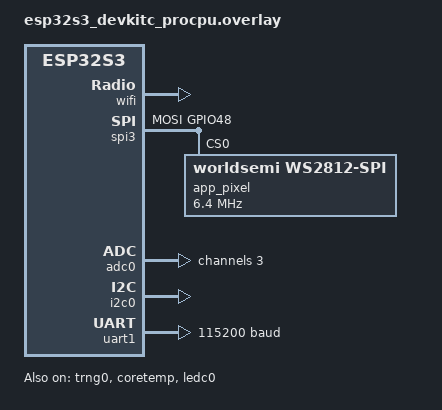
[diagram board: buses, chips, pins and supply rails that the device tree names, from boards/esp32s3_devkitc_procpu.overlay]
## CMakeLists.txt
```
# flightctl-mcu on Zephyr: the agent core, the Zephyr port and a small
# application. Built with port/zephyr/build.sh.
cmake_minimum_required(VERSION 3.20)
# The flightctl,app-hw binding (dts/bindings): the board map's names.
list(APPEND DTS_ROOT ${CMAKE_CURRENT_LIST_DIR})
find_package(Zephyr REQUIRED HINTS $ENV{ZEPHYR_BASE})
project(flightctl_mcu)
# For mbedTLS too: it includes fc-mbedtls-user.h (prj.conf).
zephyr_include_directories(include)
if(CONFIG_FC_ESP_INTERNAL_HEAPS AND CONFIG_SOC_ESP32_PROCPU)
    zephyr_linker_sources(SECTIONS rtc_fast_heap.ld)
endif()

set(ROOT ${CMAKE_CURRENT_LIST_DIR}/../..)

# WAMR (third_party/fetch-wamr.sh): fast interpreter only, as in the other
# builds.
enable_language(ASM)
set(WAMR_BUILD_PLATFORM "zephyr")
if(CONFIG_ARCH_POSIX)
    if(CMAKE_HOST_SYSTEM_PROCESSOR MATCHES "^(arm64|aarch64)")
        set(WAMR_BUILD_TARGET "AARCH64")
    else()
        set(WAMR_BUILD_TARGET "X86_64")
    endif()
elseif(CONFIG_CPU_CORTEX_M0PLUS OR CONFIG_CPU_CORTEX_M0)
    set(WAMR_BUILD_TARGET "THUMBV6M")
elseif(CONFIG_CPU_CORTEX_M)
    set(WAMR_BUILD_TARGET "THUMBV7EM")
elseif(CONFIG_XTENSA)
    set(WAMR_BUILD_TARGET "XTENSA")
elseif(CONFIG_RISCV AND NOT CONFIG_64BIT AND NOT CONFIG_FPU)
    set(WAMR_BUILD_TARGET "RISCV32_ILP32")
else()
    message(FATAL_ERROR "flightctl-mcu: no WAMR target for this board yet")
endif()
set(WAMR_BUILD_INTERP 1)
set(WAMR_BUILD_FAST_INTERP 1)
set(WAMR_BUILD_AOT 0)
set(WAMR_BUILD_JIT 0)
# libc-builtin: a few C library functions for the apps (fc_apps.c, s_libc).
set(WAMR_BUILD_LIBC_BUILTIN 1)
set(WAMR_BUILD_LIBC_WASI 0)
set(WAMR_BUILD_SIMD 0)
set(WAMR_BUILD_REF_TYPES 0)
# Instruction metering: an app call that runs past its budget traps, so an
# app in an endless loop can always be stopped (core/src/fc_apps.c).
set(WAMR_BUILD_INSTRUCTION_METERING 1)
# Tail calls (return_call), which clang emits with -mtail-call and current
# toolchains by default: CoreMark as wasm-coremark publishes it uses them.
set(WAMR_BUILD_TAIL_CALL 1)
set(WAMR_ROOT_DIR ${ROOT}/third_party/wamr)
include(${WAMR_ROOT_DIR}/build-scripts/runtime_lib.cmake)

target_sources(app PRIVATE
    src/main.c
    ${ROOT}/port/zephyr/fc_port_zephyr.c
    ${ROOT}/port/zephyr/fc_net_zephyr.c
    ${ROOT}/port/zephyr/fc_hw_zephyr.c
    ${ROOT}/core/src/fc_agent.c
    ${ROOT}/core/src/fc_rendered.c
    ${ROOT}/core/src/fc_console.c
    ${ROOT}/core/src/fc_log.c
    ${ROOT}/core/src/fc_metrics.c
    ${ROOT}/core/src/fc_mqtt.c
    ${ROOT}/core/src/fc_http.c
    ${ROOT}/core/src/fc_identity.c
    ${ROOT}/core/src/fc_oci.c
    ${ROOT}/core/src/fc_apps.c
    ${ROOT}/core/src/fc_appapi.c
    ${ROOT}/core/src/fc_arduino.c
    ${ROOT}/core/src/fc_board.c
    ${ROOT}/core/src/fc_resources.c
    ${ROOT}/core/src/fc_delta.c
    ${ROOT}/third_party/cjson/cJSON.c
    ${WAMR_RUNTIME_LIB_SOURCE})
if(CONFIG_RISCV_ISA_RV32I AND CONFIG_ATOMIC_OPERATIONS_C)
    target_sources(app PRIVATE fc_atomic_rv32.c)
endif()
# Boards with WiFi: the network, given at the factory, or in the field where
# the board can open an access point (with a DHCP server for installers).
if(CONFIG_WIFI)
    target_sources(app PRIVATE src/wifi.c)
    if(CONFIG_SOC_SERIES_ESP32C5)
        target_sources(app PRIVATE src/wifi_esp32c5.c)
    endif()
endif()
if(CONFIG_WIFI AND CONFIG_NET_DHCPV4_SERVER)
    target_sources(app PRIVATE ${ROOT}/core/src/fc_prov.c)
endif()
# The C heap is the port's unless the build keeps Zephyr's.
if(NOT CONFIG_COMMON_LIBC_MALLOC)
    target_sources(app PRIVATE ${ROOT}/port/zephyr/fc_heap_zephyr.c)
    # The S3 with PSRAM and software crypto can receive TLS records in
    # external RAM. A hardware accelerator may require DMA-capable memory.
    if(NOT CONFIG_CRYPTO AND
       ((CONFIG_BOARD_ESP32S3_DEVKITC_ESP32S3_PROCPU AND CONFIG_ESP_SPIRAM AND CONFIG_SPIRAM_MODE_OCT
         AND CONFIG_ESP_SPIRAM_SIZE EQUAL 8388608 AND CONFIG_SHARED_MULTI_HEAP)
        OR (CONFIG_SOC_SERIES_ESP32 AND CONFIG_ESP32_REGION_1_NOINIT)))
        set_source_files_properties(${ROOT}/core/src/fc_http.c ${ROOT}/port/zephyr/fc_heap_zephyr.c
            PROPERTIES COMPILE_DEFINITIONS FC_TLS_POOL_PORT_STORAGE)
    endif()
endif()
target_include_directories(app PRIVATE
    ${ROOT}/core/include ${ROOT}/core/src ${ROOT}/third_party/cjson ${ROOT}/port/zephyr)
# WAMR 2.4.6's Zephyr port includes <autoconf.h> and <version.h>, which Zephyr
# generates under zephyr/ and no longer puts on the include path as they are.
target_include_directories(app PRIVATE ${ZEPHYR_BINARY_DIR}/include/generated/zephyr)
# On Xtensa the fatal error handler walks the stack with Zephyr's own
# backtrace, whose headers are the architecture's (fc_port_zephyr.c).
if(CONFIG_XTENSA)
    target_include_directories(app PRIVATE ${ZEPHYR_BASE}/arch/xtensa/include)
endif()
# App state changes go to the journal. Other app output also goes to the console.
set_property(SOURCE ${ROOT}/core/src/fc_apps.c APPEND PROPERTY COMPILE_DEFINITIONS FC_APP_STATE_LOG_BUFFER_ONLY)
# FC_LOG_KEEP: the device's log in RAM that a restart keeps (fc_log.h).
target_compile_definitions(app PRIVATE
    CJSON_NESTING_LIMIT=32
    FC_LOG_KEEP=1)
if(CONFIG_FC_CONSOLE_CRASH)
    target_compile_definitions(app PRIVATE FC_CONSOLE_CRASH=1)
endif()
if(CONFIG_FC_AGENT_STACK_SIZE)
    target_compile_definitions(app PRIVATE FC_AGENT_STACK_SIZE=${CONFIG_FC_AGENT_STACK_SIZE})
endif()
# WAMR, which runs the apps, optimized for speed (-O2, after Zephyr's -Os);
# the rest stays optimized for size. With -O2 for everything the ESP32-S3's
# data is 5.6 KB larger than its RAM.
set_source_files_properties(${WAMR_RUNTIME_LIB_SOURCE} PROPERTIES
    COMPILE_OPTIONS "-O2"
    COMPILE_DEFINITIONS WASM_ENABLE_COMPACT_DISPATCH=1)

# hostap and WAMR each provide an allocator under these names.
if(CONFIG_WIFI_NM_WPA_SUPPLICANT)
    set_property(SOURCE ${WAMR_RUNTIME_LIB_SOURCE} APPEND PROPERTY COMPILE_DEFINITIONS
        os_malloc=wamr_os_malloc os_realloc=wamr_os_realloc os_free=wamr_os_free)
endif()

if(CONFIG_BOARD_NRF7002DK_NRF5340_CPUAPP)
    target_sources(app PRIVATE nrf5340/temperature.c)
endif()
```

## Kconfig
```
# flightctl-mcu application options.

config FC_PHYSICAL_APP_HW
	bool
	default y if BOARD_NUCLEO_F767ZI
	default y if BOARD_ESP32_DEVKITC || BOARD_ESP32C3_DEVKITM || BOARD_ESP32C5_DEVKITC || BOARD_ESP32C6_DEVKITC
	default y if BOARD_NRF7002DK_NRF5340_CPUAPP || BOARD_ESP32S3_DEVKITC_ESP32S3_PROCPU
	default y if BOARD_RPI_PICO2_RP2350A_M33_0_W || BOARD_RPI_PICO2_RP2350A_M33_0_W_MCUBOOT
	help
	  Use the board's physical LED and devicetree sensors for WASM apps.
	  Omit the console LED and uptime-based temperature fallback.

config FC_STORAGE_SETTINGS
	bool
	default y if BOARD_NUCLEO_F767ZI

config FC_SNTP_SERVER
	string "SNTP server the device takes the time from"
	default "pool.ntp.org"

config FC_LIBC_HEAP_WATERMARK
	bool "Track minimum free space in the common libc malloc arena"
	depends on COMMON_LIBC_MALLOC && SYS_HEAP_RUNTIME_STATS && COMMON_LIBC_MALLOC_ARENA_SIZE != 0

config FC_HEAP_SIZE
	int "Size of the C heap (malloc), in bytes"
	default 163840
	help
	  Everything the agent allocates: TLS sessions, JSON documents, WASM
	  modules and their memory. The device reports how much of it is free.

config FC_ESP_INTERNAL_HEAPS
	bool "Use additional internal SRAM for the agent heap"
	depends on (SOC_ESP32_PROCPU && ESP32_REGION_1_NOINIT) || SOC_ESP32C5_HPCORE
	depends on BOOTLOADER_MCUBOOT && !SMP && !SOC_ENABLE_APPCPU && !ESP_SPIRAM && !BT
	depends on !COMMON_LIBC_MALLOC && !CRYPTO && !ESP32_ULP_COPROC_ENABLED
	select MULTI_HEAP
	help
	  After kernel startup, use the RAM vacated by MCUboot and the ROM
	  startup stack. On ESP32-C5, try the extra high-performance SRAM bank
	  before the main heap and use RTC RAM as a last resort. On the classic
	  ESP32, try the smaller banks first to leave room for WASM linear memory.

config FC_APP_HEAP_CHECK
	bool "Refuse an app whose memory leaves the agent too little of the C heap"
	depends on !COMMON_LIBC_MALLOC
	help
	  The floor of heap for the agent (docs/APPS.md, Size and limits): an
	  app whose instance leaves less than 40 KB of the C heap is refused,
	  and the largest .wasm follows what is free. With it the device also
	  logs, and puts in customInfo heapAgentBytes, what the agent took of
	  the heap after an app's instance. Off until the floor is measured
	  on a board with Zephyr: there TLS's receive buffers are reserved
	  apart, and the agent's needs differ from ESP-IDF's.

config FC_AGENT_STACK_SIZE
	int "Stack of the agent's status thread, in bytes (0: the core's default)"
	default 0
	help
	  The core asks for 12 KB on a microcontroller. The agent's other loop,
	  the spec's, runs on the main thread (CONFIG_MAIN_STACK_SIZE). A board
	  short of RAM can give less once it has measured what the threads use
	  (customInfo stackMinFreeBytes).

config FC_CONSOLE_CRASH
	bool "Test only: a console command, crash, that makes the device fault"
	help
	  For the test of what the device's log keeps across a crash. Never
	  in a release.

config FC_FW_VERSION
	string "Firmware version, logged at boot"
	default "dev"

config FC_METRICS_INTERVAL
	int "Counters in customInfo read every (s)"
	default 3600
	help
	  The heap's low-water mark, traffic. The statuses in between repeat
	  the last values: Flight Control 1.4 logs an event for every change
	  in the status.

config FC_OTA_VERIFY_TIMEOUT
	int "Seconds a new firmware has to reach Flight Control before it is given up"
	default 150
	help
	  Counted from the boot into the new image. After it the device
	  restarts and MCUboot puts the previous image back.

config FC_TEST_SERVER_PORT
	int "Test only: force this agent endpoint port (0: off)"
	default 0
	help
	  For the test of the way back: a firmware that cannot reach Flight
	  Control whatever the device was provisioned with.

config FC_FW_PLATFORM
	string "The name of this board's firmware in a release"
	default BOARD
	help
	  A firmware release is an OCI index with an image per platform; the
	  device takes the one whose platform.architecture is this.

config FC_LOG_DEBUG
	bool "Log the agent's debug messages"
	default n

source "Kconfig.zephyr"
```

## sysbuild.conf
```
# Used only by builds with a bootloader (port/zephyr/build.sh on a board named
# .../mcuboot): MCUboot, two slots swapped with a way back, images signed
# with ECDSA P-256. The key is given by build.sh (.secrets/mcuboot-signing.pem).
SB_CONFIG_BOOTLOADER_MCUBOOT=y
SB_CONFIG_MCUBOOT_MODE_SWAP_USING_MOVE=y
SB_CONFIG_BOOT_SIGNATURE_TYPE_ECDSA_P256=y
```

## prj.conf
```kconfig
# flightctl-mcu on Zephyr: what the agent core needs from the system.
# Board-specific settings are in boards/.

# The core is POSIX: threads with the stack size they ask for, clocks, sleep.
CONFIG_POSIX_API=y
CONFIG_THREAD_STACK_INFO=y
# Stacks filled at start, so that what a thread never used can be read
# (customInfo stackMinFreeBytes).
CONFIG_INIT_STACKS=y
CONFIG_DYNAMIC_THREAD=y
CONFIG_DYNAMIC_THREAD_ALLOC=y
CONFIG_DYNAMIC_THREAD_PREFER_ALLOC=y
CONFIG_MAIN_STACK_SIZE=16384
# POSIX mutexes come from a fixed pool (5 by default): the core takes 7,
# mbedTLS's threading layer (include/fc-tf-psa-user.h) 7, and the HTTP/2
# client up to 11: one for the TLS buffer pool, one per session (the agent's,
# the registry's) and two per connection, of which there can be three (the
# agent's, the registry's, and the agent's old one for as long as a long-poll
# finishes on it after a certificate renewal). Short of them, mbedTLS's own
# fail and a TLS handshake ends in PSA_ERROR_GENERIC_ERROR. A condition
# variable per connection too.
CONFIG_MAX_PTHREAD_MUTEX_COUNT=28
CONFIG_MAX_PTHREAD_COND_COUNT=12
CONFIG_REBOOT=y
CONFIG_HWINFO=y
# The C heap is the port's (port/zephyr/fc_heap_zephyr.c), which reports how
# much of it is free; its size is CONFIG_FC_HEAP_SIZE.
CONFIG_COMMON_LIBC_MALLOC=n
CONFIG_SYS_HEAP_RUNTIME_STATS=y
# The apps' C library formats each conversion of their printf and snprintf
# with picolibc's (docs/APPS.md#the-c-library): with floating point, so that
# an app's %f prints the number, as on ESP-IDF, not "*float*".
CONFIG_PICOLIBC_IO_FLOAT=y
# CPU use for status.resources: cycles outside the idle threads.
CONFIG_THREAD_RUNTIME_STATS=y

# Storage: LittleFS on the fc_storage partition (port/zephyr).
CONFIG_FLASH=y
CONFIG_FLASH_MAP=y
CONFIG_FILE_SYSTEM=y
CONFIG_FILE_SYSTEM_LITTLEFS=y

# Network: TCP sockets, DNS, and SNTP for the time certificates are checked
# against.
CONFIG_NETWORKING=y
CONFIG_NET_IPV4=y
CONFIG_NET_IPV6=n
# One interface and the router DHCP gives: no table of static routes (new in
# Zephyr 4.5, and on by default).
CONFIG_NET_IPV4_ROUTE=n
CONFIG_NET_TCP=y
CONFIG_NET_UDP=y
CONFIG_NET_SOCKETS=y
# The agent keeps two connections to Flight Control and opens a third to the
# registry for an app or a firmware; DHCP and DNS have theirs. Zephyr's
# default of four in all refuses the third.
CONFIG_NET_MAX_CONN=10
CONFIG_NET_MAX_CONTEXTS=10
CONFIG_DNS_RESOLVER=y
# The agent's two threads may both look the server up at the same time.
CONFIG_DNS_NUM_CONCUR_QUERIES=3
CONFIG_SNTP=y

# mbedTLS 4.1, as in the other builds: TLS 1.3 with ECDSA P-256 keys, X.509
# and PKCS#10 requests. Its cryptography is PSA's (TF-PSA-Crypto), chosen
# below by what TLS 1.3 and the agent take from it. RSA only for a device key
# in hardware, which the core can make.
CONFIG_PSA_CRYPTO=y
CONFIG_MBEDTLS=y
CONFIG_MBEDTLS_BUILTIN=y
CONFIG_MBEDTLS_SSL_PROTO_TLS1_2=y
CONFIG_MBEDTLS_SSL_PROTO_TLS1_3=y
CONFIG_MBEDTLS_SSL_TLS1_3_KEY_EXCHANGE_MODE_EPHEMERAL_ENABLED=y
# HTTP/2 is chosen with ALPN: the core speaks nothing else.
CONFIG_MBEDTLS_SSL_ALPN=y
CONFIG_MBEDTLS_KEY_EXCHANGE_ECDHE_ECDSA_ENABLED=y
CONFIG_MBEDTLS_KEY_EXCHANGE_ECDHE_RSA_ENABLED=y
CONFIG_MBEDTLS_PSA_CRYPTO_C=y
# The key exchange, the signatures, HKDF, the two AEAD ciphers, the hashes.
CONFIG_PSA_WANT_ALG_ECDH=y
CONFIG_PSA_WANT_ALG_ECDSA=y
CONFIG_PSA_WANT_ALG_DETERMINISTIC_ECDSA=y
CONFIG_PSA_WANT_ALG_HKDF=y
CONFIG_PSA_WANT_ALG_HKDF_EXTRACT=y
CONFIG_PSA_WANT_ALG_HKDF_EXPAND=y
CONFIG_PSA_WANT_ALG_HMAC=y
CONFIG_PSA_WANT_ALG_SHA_256=y
CONFIG_PSA_WANT_ALG_SHA_384=y
CONFIG_PSA_WANT_ALG_GCM=y
# Field provisioning's session (core/src/fc_prov.c): X25519, then AES-CTR.
CONFIG_PSA_WANT_ALG_CTR=y
CONFIG_PSA_WANT_ALG_CHACHA20_POLY1305=y
CONFIG_PSA_WANT_ALG_TLS12_PRF=y
CONFIG_PSA_WANT_ECC_SECP_R1_256=y
CONFIG_PSA_WANT_ECC_SECP_R1_384=y
CONFIG_PSA_WANT_ECC_MONTGOMERY_255=y
CONFIG_PSA_WANT_KEY_TYPE_AES=y
CONFIG_PSA_WANT_KEY_TYPE_CHACHA20=y
CONFIG_PSA_WANT_KEY_TYPE_HMAC=y
CONFIG_PSA_WANT_KEY_TYPE_ECC_PUBLIC_KEY=y
CONFIG_PSA_WANT_KEY_TYPE_ECC_KEY_PAIR_IMPORT=y
CONFIG_PSA_WANT_KEY_TYPE_ECC_KEY_PAIR_EXPORT=y
CONFIG_PSA_WANT_KEY_TYPE_ECC_KEY_PAIR_GENERATE=y
CONFIG_PSA_WANT_KEY_TYPE_ECC_KEY_PAIR_DERIVE=y
CONFIG_PSA_WANT_ALG_RSA_PKCS1V15_SIGN=y
CONFIG_PSA_WANT_ALG_RSA_PSS=y
CONFIG_PSA_WANT_KEY_TYPE_RSA_PUBLIC_KEY=y
CONFIG_PSA_WANT_KEY_TYPE_RSA_KEY_PAIR_IMPORT=y
CONFIG_PSA_WANT_KEY_TYPE_RSA_KEY_PAIR_EXPORT=y
CONFIG_PSA_WANT_KEY_TYPE_RSA_KEY_PAIR_GENERATE=y
# PSA's random generator: mbedTLS's own (entropy gathered, then a DRBG), fed
# by Zephyr's entropy driver.
CONFIG_MBEDTLS_PSA_CRYPTO_LEGACY_RNG=y
CONFIG_MBEDTLS_CTR_DRBG_C=y
CONFIG_MBEDTLS_HMAC_DRBG_C=y
CONFIG_MBEDTLS_PEM_PARSE_C=y
CONFIG_MBEDTLS_PEM_WRITE_C=y
CONFIG_MBEDTLS_PK_PARSE_C=y
CONFIG_MBEDTLS_PK_WRITE_C=y
CONFIG_MBEDTLS_X509_CRT_PARSE_C=y
CONFIG_MBEDTLS_X509_CSR_WRITE_C=y
CONFIG_MBEDTLS_X509_CSR_PARSE_C=y
CONFIG_MBEDTLS_SSL_SERVER_NAME_INDICATION=y
CONFIG_MBEDTLS_HAVE_TIME_DATE=y
# A TLS connection keeps a buffer for each direction. Records from the server
# can be 16 KB; what the agent sends goes out in records of 4 KB, as in the
# ESP-IDF build: 12 KB less per connection.
CONFIG_MBEDTLS_SSL_IN_CONTENT_LEN=16384
CONFIG_MBEDTLS_SSL_OUT_CONTENT_LEN=4096
# mbedTLS allocates from the C heap, like everything else here: its PSA key
# slots too (static ones cost 38 KB of RAM, sized for the largest RSA key).
# The receive buffers come from two blocks the agent takes at its start
# (core/include/fc_tls_pool.h), through mbedtls_platform_set_calloc_free.
CONFIG_MBEDTLS_ENABLE_HEAP=n
CONFIG_MBEDTLS_PSA_STATIC_KEY_SLOTS=n
# The AES tables in flash, not RAM (9 KB).
CONFIG_MBEDTLS_AES_ROM_TABLES=y
CONFIG_MBEDTLS_USER_CONFIG_FILE="fc-mbedtls-user.h"
CONFIG_TF_PSA_CRYPTO_USER_CONFIG_FILE="fc-tf-psa-user.h"
CONFIG_ENTROPY_GENERATOR=y
```

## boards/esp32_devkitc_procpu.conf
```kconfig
# Station provisioning uses the network in the factory partition.
CONFIG_WIFI=y
CONFIG_NET_MGMT=y
CONFIG_NET_MGMT_EVENT=y
CONFIG_NET_DHCPV4=y
CONFIG_ESP32_WIFI_STA_SCAN_ALL=y
CONFIG_ESP32_WIFI_STA_RECONNECT=y
CONFIG_STREAM_FLASH=y
CONFIG_IMG_MANAGER=y
CONFIG_MCUBOOT_IMG_MANAGER=y
CONFIG_IMG_ERASE_PROGRESSIVELY=y
CONFIG_LOG=y
CONFIG_LOG_MODE_MINIMAL=y
CONFIG_LOG_DEFAULT_LEVEL=1
CONFIG_THREAD_NAME=y
CONFIG_FC_AGENT_STACK_SIZE=12288
# Leave DMA-capable system heap for Wi-Fi traffic while a WASM app runs.
CONFIG_HEAP_MEM_POOL_SIZE=64512
CONFIG_FC_HEAP_SIZE=80896
CONFIG_MAX_PTHREAD_MUTEX_COUNT=32
CONFIG_ESP32_WIFI_STATIC_RX_BUFFER_NUM=4
CONFIG_ESP32_WIFI_DYNAMIC_RX_BUFFER_NUM=8
CONFIG_ESP32_WIFI_DYNAMIC_TX_BUFFER_NUM=8
CONFIG_NET_BUF_DATA_SIZE=192
CONFIG_NET_BUF_RX_COUNT=20
CONFIG_NET_BUF_TX_COUNT=24
CONFIG_ESP32_REGION_1_NOINIT=y
CONFIG_FC_ESP_INTERNAL_HEAPS=y
# POSIX app threads inherit the main priority. Share CPU time with the
# Espressif Wi-Fi worker at the lowest of 15 preemptible priorities.
CONFIG_MAIN_THREAD_PRIORITY=14
```

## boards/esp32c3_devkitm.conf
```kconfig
# Station provisioning uses the network in the factory partition.
CONFIG_WIFI=y
CONFIG_NET_MGMT=y
CONFIG_NET_MGMT_EVENT=y
CONFIG_NET_DHCPV4=y
CONFIG_ESP32_WIFI_STA_SCAN_ALL=y
CONFIG_ESP32_WIFI_STA_RECONNECT=y
CONFIG_STREAM_FLASH=y
CONFIG_IMG_MANAGER=y
CONFIG_MCUBOOT_IMG_MANAGER=y
CONFIG_IMG_ERASE_PROGRESSIVELY=y
CONFIG_LOG=y
CONFIG_LOG_MODE_MINIMAL=y
CONFIG_LOG_DEFAULT_LEVEL=1
CONFIG_THREAD_NAME=y
CONFIG_FC_AGENT_STACK_SIZE=12288
CONFIG_HEAP_MEM_POOL_SIZE=65536
CONFIG_FC_HEAP_SIZE=139264
CONFIG_MAX_PTHREAD_MUTEX_COUNT=32
CONFIG_ESP32_WIFI_STATIC_RX_BUFFER_NUM=4
CONFIG_ESP32_WIFI_DYNAMIC_RX_BUFFER_NUM=8
CONFIG_ESP32_WIFI_DYNAMIC_TX_BUFFER_NUM=8
CONFIG_NET_BUF_RX_COUNT=22
CONFIG_NET_BUF_TX_COUNT=22
```

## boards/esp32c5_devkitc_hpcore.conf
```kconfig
# Station provisioning uses the network in the factory partition.
CONFIG_WIFI=y
CONFIG_NET_MGMT=y
CONFIG_NET_MGMT_EVENT=y
CONFIG_NET_DHCPV4=y
CONFIG_ESP32_WIFI_STA_SCAN_ALL=y
CONFIG_ESP32_WIFI_STA_RECONNECT=y
CONFIG_STREAM_FLASH=y
CONFIG_IMG_MANAGER=y
CONFIG_MCUBOOT_IMG_MANAGER=y
CONFIG_IMG_ERASE_PROGRESSIVELY=y
CONFIG_LOG=y
CONFIG_LOG_MODE_MINIMAL=y
CONFIG_LOG_DEFAULT_LEVEL=1
CONFIG_THREAD_NAME=y
CONFIG_FC_AGENT_STACK_SIZE=12288
CONFIG_HEAP_MEM_POOL_SIZE=57344
CONFIG_FC_HEAP_SIZE=100352
CONFIG_MAX_PTHREAD_MUTEX_COUNT=32
CONFIG_ESP32_WIFI_STATIC_RX_BUFFER_NUM=4
CONFIG_ESP32_WIFI_DYNAMIC_RX_BUFFER_NUM=8
CONFIG_ESP32_WIFI_DYNAMIC_TX_BUFFER_NUM=8
CONFIG_NET_BUF_RX_COUNT=20
CONFIG_NET_BUF_TX_COUNT=20
```

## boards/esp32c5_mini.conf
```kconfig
# On the 4 MiB Mini, share internal SRAM between the Wi-Fi driver and agent.
CONFIG_ESP32_WIFI_EXTRA_IRAM_OPT=n
CONFIG_ESP32_WIFI_SLP_IRAM_OPT=n
CONFIG_ESP32_WIFI_MGMT_SBUF_NUM=6
CONFIG_ESP32_WIFI_RX_BA_WIN=4
CONFIG_HEAP_MEM_POOL_SIZE=69632
CONFIG_FC_FW_PLATFORM="esp32c5-mini"
CONFIG_ESP32_WIFI_STA_POWER_SAVE_NONE=y
CONFIG_NET_BUF_DATA_SIZE=192
CONFIG_NET_BUF_TX_COUNT=24
CONFIG_FC_ESP_INTERNAL_HEAPS=y
# POSIX app threads inherit the main priority. Share CPU time with the
# Espressif Wi-Fi worker at the lowest of 15 preemptible priorities.
CONFIG_MAIN_THREAD_PRIORITY=14
```

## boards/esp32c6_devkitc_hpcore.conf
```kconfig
# Station provisioning uses the network in the factory partition.
CONFIG_WIFI=y
CONFIG_NET_MGMT=y
CONFIG_NET_MGMT_EVENT=y
CONFIG_NET_DHCPV4=y
CONFIG_ESP32_WIFI_STA_SCAN_ALL=y
CONFIG_ESP32_WIFI_STA_RECONNECT=y
CONFIG_STREAM_FLASH=y
CONFIG_IMG_MANAGER=y
CONFIG_MCUBOOT_IMG_MANAGER=y
CONFIG_IMG_ERASE_PROGRESSIVELY=y
CONFIG_LOG=y
CONFIG_LOG_MODE_MINIMAL=y
CONFIG_LOG_DEFAULT_LEVEL=1
CONFIG_THREAD_NAME=y
CONFIG_FC_AGENT_STACK_SIZE=12288
CONFIG_HEAP_MEM_POOL_SIZE=73728
CONFIG_FC_HEAP_SIZE=139264
CONFIG_MAX_PTHREAD_MUTEX_COUNT=32
CONFIG_ESP32_WIFI_STATIC_RX_BUFFER_NUM=4
CONFIG_ESP32_WIFI_DYNAMIC_RX_BUFFER_NUM=8
CONFIG_ESP32_WIFI_DYNAMIC_TX_BUFFER_NUM=8
```

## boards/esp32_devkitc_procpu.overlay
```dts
/* Split the board's storage partition between factory data and LittleFS. */
/delete-node/ &storage_partition;

&flash0 {
	partitions {
		fc_creds_partition: partition@3b0000 {
			compatible = "zephyr,mapped-partition";
			label = "fc_creds";
			reg = <0x003b0000 0x00004000>;
		};
		fc_storage_partition: partition@3b4000 {
			compatible = "zephyr,mapped-partition";
			label = "fc_storage";
			reg = <0x003b4000 0x0002c000>;
		};
	};
};

&wifi { status = "okay"; };
&trng0 { status = "okay"; };
```

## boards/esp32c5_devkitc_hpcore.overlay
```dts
/* Split the board's storage partition between factory data and LittleFS. */
/delete-node/ &storage_partition;

&flash0 {
	partitions {
		fc_creds_partition: partition@7b0000 {
			compatible = "zephyr,mapped-partition";
			label = "fc_creds";
			reg = <0x007b0000 0x00004000>;
		};
		fc_storage_partition: partition@7b4000 {
			compatible = "zephyr,mapped-partition";
			label = "fc_storage";
			reg = <0x007b4000 0x0002c000>;
		};
	};
};

&wifi { status = "okay"; };
&trng0 { status = "okay"; };
```

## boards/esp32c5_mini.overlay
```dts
#include "esp32c5_mini_flash.overlay"
&flash0 {
	partitions {
		fc_creds_partition: partition@3b0000 {
			compatible = "zephyr,mapped-partition";
			label = "fc_creds";
			reg = <0x003b0000 0x00004000>;
		};
		fc_storage_partition: partition@3b4000 {
			compatible = "zephyr,mapped-partition";
			label = "fc_storage";
			reg = <0x003b4000 0x0002c000>;
		};
	};
};
```

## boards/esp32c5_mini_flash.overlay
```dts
/* HP-core-only firmware on a 4 MiB C5. The ROM owns the first 8 KiB. */
&flash0 {
	reg = <0 DT_SIZE_M(4)>;
	ranges = <0 0 DT_SIZE_M(4)>;
	partitions {
		/delete-node/ partition@3e0000;
		/delete-node/ partition@7a0000;
		/delete-node/ partition@7a8000;
		/delete-node/ partition@7b0000;
		/delete-node/ partition@7b4000;
		/delete-node/ partition@7ff000;
		slot1_partition: partition@1e0000 {
			compatible = "zephyr,mapped-partition";
			label = "image-1";
			reg = <0x1e0000 0x1c0000>;
		};
		coredump_partition: partition@3ff000 {
			compatible = "zephyr,mapped-partition";
			label = "coredump";
			reg = <0x3ff000 0x1000>;
		};
	};
};
&slot0_partition { reg = <0x20000 0x1c0000>; };
&usb_serial { status = "okay"; };
/ {
	chosen {
		zephyr,console = &usb_serial;
		zephyr,shell-uart = &usb_serial;
	};
};
```

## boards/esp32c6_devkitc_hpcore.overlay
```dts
/* Split the board's storage partition between factory data and LittleFS. */
/delete-node/ &storage_partition;

&flash0 {
	partitions {
		fc_creds_partition: partition@3b0000 {
			compatible = "zephyr,mapped-partition";
			label = "fc_creds";
			reg = <0x003b0000 0x00004000>;
		};
		fc_storage_partition: partition@3b4000 {
			compatible = "zephyr,mapped-partition";
			label = "fc_storage";
			reg = <0x003b4000 0x0002c000>;
		};
	};
};

&wifi { status = "okay"; };
&trng0 { status = "okay"; };

&usb_serial { status = "okay"; };
/ {
	chosen {
		zephyr,console = &usb_serial;
		zephyr,shell-uart = &usb_serial;
	};
};
```

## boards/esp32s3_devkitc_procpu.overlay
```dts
/*
 * ESP32-S3-DevKitC (8 MB of flash), started by MCUboot: Zephyr's layout for
 * this board (MCUboot in the first 64 KB, two slots of 2880 KB), with its
 * storage partition, 192 KB, split into the credentials and the agent's
 * storage as on the other boards.
 */

#include <zephyr/dt-bindings/led/led.h>
#include <zephyr/dt-bindings/pwm/pwm.h>

/delete-node/ &storage_partition;
/delete-node/ &coredump_partition;

&flash0 {
	partitions {
		coredump_partition: partition@7e0000 {
			compatible = "zephyr,mapped-partition";
			label = "coredump";
			reg = <0x007e0000 0x00020000>;
		};
		fc_creds_partition: partition@7b0000 {
			compatible = "zephyr,mapped-partition";
			label = "fc_creds";
			reg = <0x007b0000 0x00004000>;
		};

		fc_storage_partition: partition@7b4000 {
			compatible = "zephyr,mapped-partition";
			label = "fc_storage";
			reg = <0x007b4000 0x0002c000>;
		};
	};
};

&wifi {
	status = "okay";
};

/* The chip's random generator: Zephyr's entropy device, and PSA's source. */
&trng0 {
	status = "okay";
};

/* The N8R8 module's PSRAM: 8 MB, octal (the .conf). */
&psram0 {
	size = <DT_SIZE_M(8)>;
};

&coretemp {
	status = "okay";
};

&pinctrl {
	app_pwm: app_pwm {
		group1 { pinmux = <LEDC_CH0_GPIO7>; output-enable; };
	};
	app_rgb: app_rgb {
		group1 { pinmux = <SPIM3_MOSI_GPIO48>; output-low; };
	};
};

/* SPI3 supplies the WS2812 waveform on MOSI alone. Apps use SPI2. */
&spi3 {
	pinctrl-0 = <&app_rgb>;
	line-idle-low;
	status = "okay";
	app_pixel: ws2812@0 {
		compatible = "worldsemi,ws2812-spi";
		reg = <0>;
		spi-max-frequency = <6400000>;
		spi-cpha;
		spi-one-frame = <0xf0>;
		spi-zero-frame = <0xc0>;
		chain-length = <1>;
		color-mapping = <LED_COLOR_ID_GREEN LED_COLOR_ID_RED LED_COLOR_ID_BLUE>;
		reset-delay = <300>;
	};
};

&ledc0 {
	pinctrl-0 = <&app_pwm>;
	pinctrl-names = "default";
	status = "okay";
	#address-cells = <1>;
	#size-cells = <0>;
	channel@0 { reg = <0>; timer = <0>; };
};

&adc0 {
	status = "okay";
	#address-cells = <1>;
	#size-cells = <0>;
	channel@3 {
		reg = <3>; /* ADC1 channel 3 is GPIO4. */
		zephyr,gain = "ADC_GAIN_1_4";
		zephyr,reference = "ADC_REF_INTERNAL";
		zephyr,acquisition-time = <ADC_ACQ_TIME_DEFAULT>;
		zephyr,resolution = <12>;
	};
};

&i2c0 { status = "okay"; };
/* fc_hw holds CS across transfers when requested by the app. */
&spim2_default {
	group1 { pinmux = <SPIM2_MISO_GPIO13>, <SPIM2_SCLK_GPIO12>; };
};
&uart1 {
	current-speed = <115200>;
	pinctrl-0 = <&uart1_default>;
	pinctrl-names = "default";
	status = "okay";
};

/ {
	aliases { led-strip = &app_pixel; };
	fc-hw {
		compatible = "flightctl,app-hw";
		gpio6 { gpios = <&gpio0 6 GPIO_ACTIVE_HIGH>; };
		adc0 { io-channels = <&adc0 3>; };
		pwm0 { pwms = <&ledc0 0 PWM_MSEC(1) PWM_POLARITY_NORMAL>; };
		i2c0 { i2c-bus = <&i2c0>; clock-frequency = <100000>; };
		spi0 { spi-bus = <&spi2>; cs-gpios = <&gpio0 10 GPIO_ACTIVE_LOW>; };
		uart1 { uart = <&uart1>; current-speed = <115200>; };
		core-temperature {
			temperature-sensor = <&coretemp>;
			die-temperature;
		};
	};
};
```

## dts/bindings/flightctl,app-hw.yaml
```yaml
description: |
  The hardware flightctl-mcu's WASM apps may open, by name. Each child is a
  name of the board map (the node's name), and what it has says what it is:
  gpios a GPIO, io-channels an ADC channel, pwms a PWM, i2c-bus an I2C bus,
  spi-bus and cs-gpios an SPI device, uart a UART. The fleet's
  /etc/fc/board.json may give these nodes other names ("dt": node), never
  pins. See docs/APPS.md and docs/ZEPHYR.md.

    fc-hw {
        compatible = "flightctl,app-hw";
        relay1 { gpios = <&gpio0 5 GPIO_ACTIVE_HIGH>; safe = <0>; };
        level { io-channels = <&adc0 0>; };
        sensors { i2c-bus = <&i2c0>; clock-frequency = <400000>; };
        flash { spi-bus = <&spi2>; cs-gpios = <&gpio0 10 GPIO_ACTIVE_LOW>; spi-mode = <0>; };
        modbus { uart = <&uart1>; current-speed = <9600>; };
    };

compatible: "flightctl,app-hw"

child-binding:
  description: One name of the board map.
  properties:
    temperature-sensor:
      type: phandle
      description: Temperature sensor supplying SENSOR_CHAN_AMBIENT_TEMP, or SENSOR_CHAN_DIE_TEMP with die-temperature.
    die-temperature:
      type: boolean
      description: Read the die temperature channel of temperature-sensor.
    gpios:
      type: phandle-array
      description: A GPIO; its active level makes the app's levels logical.
    safe:
      type: int
      description: The level, 0 or 1, an output takes when its app stops (else back to an input).
    io-channels:
      type: phandle-array
      description: An ADC channel, configured by a channel node of its ADC.
    pwms:
      type: phandle-array
      description: A PWM channel.
    i2c-bus:
      type: phandle
      description: An I2C controller; the whole bus is one name.
    spi-bus:
      type: phandle
      description: An SPI controller this device is on.
    cs-gpios:
      type: phandle-array
      description: The SPI device's chip select, driven by the firmware.
    spi-mode:
      type: int
      default: 0
      description: SPI mode, 0 to 3.
    clock-frequency:
      type: int
      description: The I2C bus's or the SPI device's clock, in Hz.
    uart:
      type: phandle
      description: A UART; never the console's.
    current-speed:
      type: int
      description: The UART's speed when the app gives 0, in bits per second.
    de-gpios:
      type: phandle-array
      description: An RS-485 transceiver's driver enable, asserted until the UART sends its last stop bit. Supported on an ESP32-S3 UART; the GPIO flags specify the active level.
```

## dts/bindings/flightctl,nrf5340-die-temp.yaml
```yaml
description: nRF5340 die temperature measured by the network core
compatible: "flightctl,nrf5340-die-temp"
include: sensor-device.yaml
properties:
  ipc:
    type: phandle
    required: true
    description: IPC service instance shared with the network core
```

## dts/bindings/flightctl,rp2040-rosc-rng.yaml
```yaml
# The RP2040's ring oscillator as Zephyr's entropy device
# (port/zephyr/fc_entropy_rp2.c). The board overlay has the node and makes it
# the chosen zephyr,entropy.
description: Random bits from the RP2040's ring oscillator

compatible: "flightctl,rp2040-rosc-rng"

include: base.yaml
```

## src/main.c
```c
/*
 * flightctl-mcu on Zephyr: credentials from the fc_creds partition, the
 * time from SNTP, then the Flight Control agent.
 */
#include <stdio.h>
#include <stdlib.h>
#include <string.h>
#include <time.h>

#include <zephyr/kernel.h>
#include <zephyr/net/sntp.h>
#include <zephyr/storage/flash_map.h>
#include <zephyr/sys/byteorder.h>

#include "cJSON.h"
#include "fc_agent.h"
#include "fc_port.h"
#include "fc_port_zephyr.h"
#include "fc_wifi_zephyr.h"
#ifdef CONFIG_BOARD_NRF7002DK_NRF5340_CPUAPP
#include <nrfx_clock_hfclk.h>
#endif
#ifdef CONFIG_ENTROPY_BT_HCI
#include <zephyr/bluetooth/bluetooth.h>
#endif

/* The fc_creds partition, written by tools/provision.py --format zephyr:
 * "FCC1", the length of what follows (32 bits, little-endian), then a JSON
 * object with the fields of the ESP-IDF firmware's fc_creds: server_host,
 * server_port, ca, enroll_crt, enroll_key, signing_pub, labels. */
#define CREDS_MAGIC "FCC1"
#define CREDS_MAX   (12 * 1024)

static cJSON *load_creds(void)
{
    const struct flash_area *fa;
    if (flash_area_open(PARTITION_ID(fc_creds_partition), &fa) != 0) {
        return NULL;
    }
    uint8_t hdr[8];
    cJSON *creds = NULL;
    if (flash_area_read(fa, 0, hdr, sizeof(hdr)) == 0 && memcmp(hdr, CREDS_MAGIC, 4) == 0) {
        uint32_t len = sys_get_le32(hdr + 4);
        char *json = len <= CREDS_MAX && len + sizeof(hdr) <= fa->fa_size ? malloc(len + 1) : NULL;
        if (json != NULL && flash_area_read(fa, sizeof(hdr), json, len) == 0) {
            json[len] = '\0';
            creds = cJSON_Parse(json);
        }
        free(json);
    }
    flash_area_close(fa);
    return creds;
}

static const char *str(const cJSON *creds, const char *name)
{
    const char *v = cJSON_GetStringValue(cJSON_GetObjectItem(creds, name));
    return v != NULL && v[0] != '\0' ? v : NULL;
}

/* Certificates are checked against the clock, and a device knows no time. */
#ifdef CONFIG_ARCH_POSIX
#include "native_rtc.h"

/* native_sim: the simulated real-time clock starts at the host's time. */
static void wait_for_time(void)
{
    uint64_t us = native_rtc_gettime_us(RTC_CLOCK_REALTIME);
    struct timespec ts = {.tv_sec = (time_t)(us / 1000000), .tv_nsec = (long)(us % 1000000) * 1000};
    clock_settime(CLOCK_REALTIME, &ts);
}
#else
static void wait_for_time(void)
{
    for (;;) {
        struct sntp_time t;
        if (sntp_simple(CONFIG_FC_SNTP_SERVER, 5000, &t) == 0) {
            struct timespec ts = {.tv_sec = (time_t)t.seconds};
            clock_settime(CLOCK_REALTIME, &ts);
            return;
        }
        fc_port_log(FC_LOG_WARN, "waiting for the time from %s...", CONFIG_FC_SNTP_SERVER);
        k_sleep(K_SECONDS(5));
    }
}
#endif


#ifndef CONFIG_FC_PHYSICAL_APP_HW
/* Simulated hardware for WASM apps, as on the host: a chip temperature that
 * swings 30..46 C over two minutes, and an LED (led0) printed when it
 * changes. */
static int sim_sensor(const char *name, int32_t *value)
{
    if (strcmp(name, "die_temp") != 0) {
        return FC_HW_ENOENT;
    }
    long t = (long)(k_uptime_get() / 1000) % 120;
    *value = 30000 + (int32_t)(t < 60 ? t : 120 - t) * 266;
    return 0;
}

static int sim_led_rgb(const fc_hw_led_t *led, uint8_t r, uint8_t g, uint8_t b)
{
    static int32_t last = -1;
    int32_t v = (r << 16) | (g << 8) | b;
    if (v != last) {
        printk("LED r=%d g=%d b=%d\n", (int)r, (int)g, (int)b);
        last = v;
    }
    return 0;
}

static int sim_led_open(const fc_hw_led_t *led)
{
    return 0;
}

static void sim_led_close(const fc_hw_led_t *led)
{
    sim_led_rgb(led, 0, 0, 0);
}
#endif

/* The rest (GPIO, buses, ADC, PWM) from the devicetree: fc_hw_zephyr.c. */
static fc_hw_t s_hw = {
    .board = CONFIG_BOARD_TARGET,
    .firmware = CONFIG_FC_FW_VERSION,
#ifndef CONFIG_FC_PHYSICAL_APP_HW
    .led_open = sim_led_open,
    .led_rgb = sim_led_rgb,
    .led_close = sim_led_close,
    .sensor_read = sim_sensor,
#endif
    .restart_was_crash = fc_zephyr_restart_was_crash,
};

/* Nothing can be done, and maybe no one was watching when it was first
 * said: say it again every few seconds. */
static void stop(const char *why)
{
    for (;;) {
        fc_port_log(FC_LOG_ERROR, "%s", why);
        k_sleep(K_SECONDS(10));
    }
}

/* Independent of the agent threads: an unchanged local sample completes the
 * status check, while the spec loop still needs a real management reply. */
static void watchdog_check(struct k_work *work);
static K_WORK_DELAYABLE_DEFINE(s_watchdog, watchdog_check);

static void watchdog_check(struct k_work *work)
{
    long age = 0;
    const char *what = fc_agent_watchdog(&age);
    if (what != NULL) {
        fc_port_log(FC_LOG_ERROR, "no %s for %ld s, the agent stuck: restarting", what, age);
        fc_port_reboot();
    }
    k_work_schedule(&s_watchdog, K_SECONDS(60));
}

int main(void)
{
#ifdef CONFIG_BOARD_NRF7002DK_NRF5340_CPUAPP
    nrfx_clock_hfclk_divider_set(NRF_CLOCK_HFCLK_DIV_1);
#endif
    fc_port_log(FC_LOG_INFO, "flightctl-mcu %s on Zephyr, board %s", CONFIG_FC_FW_VERSION, CONFIG_BOARD_TARGET);
#ifdef CONFIG_ENTROPY_BT_HCI
    if (bt_enable(NULL) != 0) {
        stop("cannot start the HCI controller for hardware entropy");
    }
#endif
    fc_hw_zephyr_fill(&s_hw);
    if (fc_port_zephyr_init() != 0) {
        stop("cannot mount the storage (the fc_storage partition)");
    }
    cJSON *creds = load_creds();
    const char *host = str(creds, "server_host");
    const cJSON *port = cJSON_GetObjectItem(creds, "server_port");
    if (host == NULL || str(creds, "ca") == NULL || str(creds, "enroll_crt") == NULL ||
        str(creds, "enroll_key") == NULL) {
        stop("no credentials: write the fc_creds partition (tools/provision.py --format zephyr)");
    }
    /* {"k": "v", ...} to the {k, v, ..., NULL} the agent takes */
    static const char *labels[33];
    int n = 0;
    const cJSON *l;
    cJSON_ArrayForEach(l, cJSON_GetObjectItem(creds, "labels")) {
        if (n < 30 && cJSON_IsString(l)) {
            labels[n++] = l->string;
            labels[n++] = l->valuestring;
        }
    }

#ifdef CONFIG_WIFI
    fc_wifi_up(creds);
#endif
    wait_for_time();
    size_t heap, heap_free, heap_min, kheap, kheap_free;
    fc_heap_stats(&heap, &heap_free, &heap_min);
    fc_kernel_heap_stats(&kheap, &kheap_free);
    fc_port_log(FC_LOG_INFO, "memory: heap %u of %u bytes free, for thread stacks %u of %u", (unsigned)heap_free,
                (unsigned)heap, (unsigned)kheap_free, (unsigned)kheap);
    fc_agent_config_t cfg = {
        .server_host = host,
        .server_port = CONFIG_FC_TEST_SERVER_PORT != 0 ? CONFIG_FC_TEST_SERVER_PORT
                       : cJSON_IsNumber(port)           ? port->valueint
                                                        : 8443,
        .ca_pem = str(creds, "ca"),
        .enrollment_cert_pem = str(creds, "enroll_crt"),
        .enrollment_key_pem = str(creds, "enroll_key"),
        .signing_pub_pem = str(creds, "signing_pub"),
        .labels = labels,
        .agent_version = FC_AGENT_VERSION,
        .status_interval_s = 60,
        .metrics_interval_s = CONFIG_FC_METRICS_INTERVAL,
        .ota_verify_timeout_s = CONFIG_FC_OTA_VERIFY_TIMEOUT,
        .hw = &s_hw,
    };
    k_work_schedule(&s_watchdog, K_SECONDS(60));
    fc_agent_run(&cfg);
    stop("the agent stopped");
    return 1;
}
```

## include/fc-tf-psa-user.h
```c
/* Added to Zephyr's TF-PSA-Crypto configuration (CONFIG_TF_PSA_CRYPTO_USER_CONFIG_FILE). */

/* The agent calls PSA from several threads at once (status, spec, app
 * downloads): PSA's key table needs the threading layer, on Zephyr's POSIX
 * mutexes (CONFIG_POSIX_API). Zephyr has no Kconfig option for it. */
#define MBEDTLS_THREADING_C
#define MBEDTLS_THREADING_PTHREAD
```

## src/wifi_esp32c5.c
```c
#include <esp_wifi.h>

#include "fc_wifi_zephyr.h"

/* The Zephyr station request selects 2.4 GHz. The Espressif dual-band
 * driver uses its own band setting when it scans for the configured SSID. */
int fc_wifi_c5_select_band(void)
{
    return esp_wifi_set_band_mode(WIFI_BAND_MODE_2G_ONLY);
}
```
